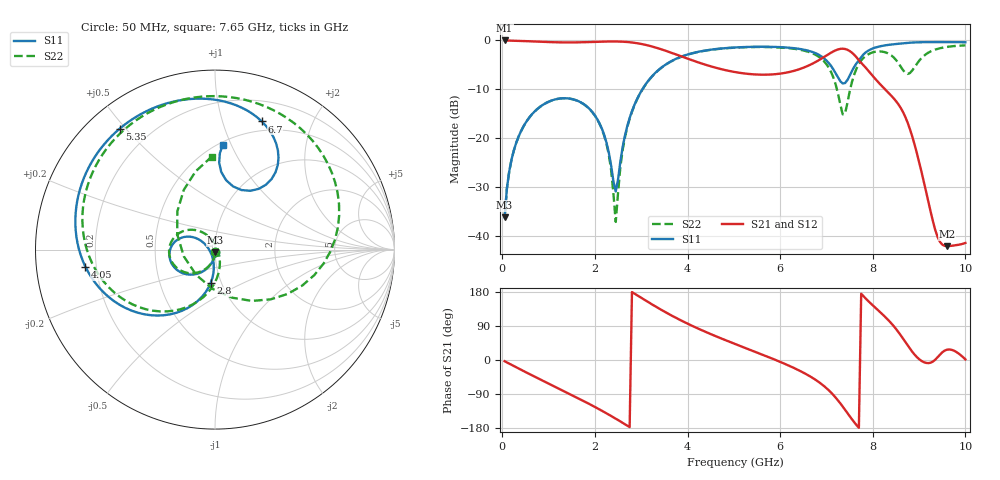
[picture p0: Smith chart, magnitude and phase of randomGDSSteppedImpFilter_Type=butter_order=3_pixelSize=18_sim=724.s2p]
! freq	dB(S11)	phase(S11)	dB(S12)	phase(S12)
!  dB(S21)	phase(S21)	dB(S22)	phase(S22)
!S-par simulation data
#  GHz  S  DB  R 50
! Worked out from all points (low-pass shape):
!   200 points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, 50 MHz to 10 GHz, reference 50 ohm
!   highest |S21| = -0.02 dB at 50 MHz (marker M1); lowest = -42.0 dB at 9.6 GHz (marker M2)
!   |S21| within 3 dB of the highest: start of sweep to 3.792 GHz; 7.012 GHz to 7.606 GHz (594.5 MHz wide, 8.13 % of centre)
!   lowest |S11| = -36.2 dB at 50 MHz (marker M3), VSWR 1.03, Z = 50.1 - j1.56 ohm
!   |S11| at or under -10 dB: start of sweep to 3.025 GHz
!   |S22| runs from -37.1 to -1.0 dB; largest |S21 - S12| = 0
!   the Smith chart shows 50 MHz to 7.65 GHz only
!   S11 on the Smith chart (normalised r, x): 50 MHz: 1.00, -0.03; 2.8 GHz: 0.89, -0.35; 4.05 GHz: 0.16, -0.06; 5.35 GHz: 0.09, +0.48; 6.7 GHz: 0.40, +1.35; 7.65 GHz: 0.52, +0.93
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0.05  -36.15 -87.2  -0.02 -3.2  -0.02 -3.2  -36.16 -87.4
0.2  -24.31 -100.2  -0.06 -12.8  -0.06 -12.8  -24.32 -101.1
0.55  -16.18 -123.1  -0.18 -34.8  -0.18 -34.8  -16.19 -125.5
1.75  -12.96 167.9  -0.38 -107.9  -0.38 -107.9  -12.99 157.2
2.25  -20.88 147.8  -0.24 -140.7  -0.24 -140.7  -21.13 117.6
2.45  -30.86 -151.9  -0.23 -154.9  -0.23 -154.9  -37.07 22.3
2.8  -14.46 -97.5  -0.43 179.2  -0.43 179.2  -14.60 -90.6
3.4  -5.83 -134.3  -1.72 134.7  -1.72 134.7  -5.87 -139.2
4.05  -2.75 -172.5  -3.91 93.0  -3.91 93.0  -2.79 176.9
5.05  -1.44 140.8  -6.51 41.2  -6.51 41.2  -1.48 121.5
5.35  -1.33 128.3  -6.88 26.8  -6.88 26.8  -1.38 105.8
6.7  -2.38 69.9  -4.75 -47.2  -4.75 -47.2  -2.65 20.3
7.2  -6.76 51.8  -2.03 -99.4  -2.03 -99.4  -9.06 -54.2
7.4  -8.72 74.1  -1.76 -131.1  -1.76 -131.1  -15.00 -168.1
7.65  -4.67 85.8  -3.48 -172.0  -3.48 -172.0  -5.73 92.2
8.05  -1.49 64.8  -7.82 138.5  -7.82 138.5  -2.33 24.4
8.35  -0.91 49.8  -10.82 103.5  -10.82 103.5  -2.77 -24.4
8.6  -0.65 39.2  -13.74 65.9  -13.74 65.9  -5.31 -91.1
8.8  -0.48 31.1  -18.06 30.3  -18.06 30.3  -6.69 177.9
9.1  -0.37 19.3  -28.78 -5.6  -28.78 -5.6  -3.19 84.7
9.6  -0.36 1.7  -42.02 27.2  -42.02 27.2  -1.34 26.6
10  -0.39 -11.2  -41.36 1.7  -41.36 1.7  -1.03 1.3
